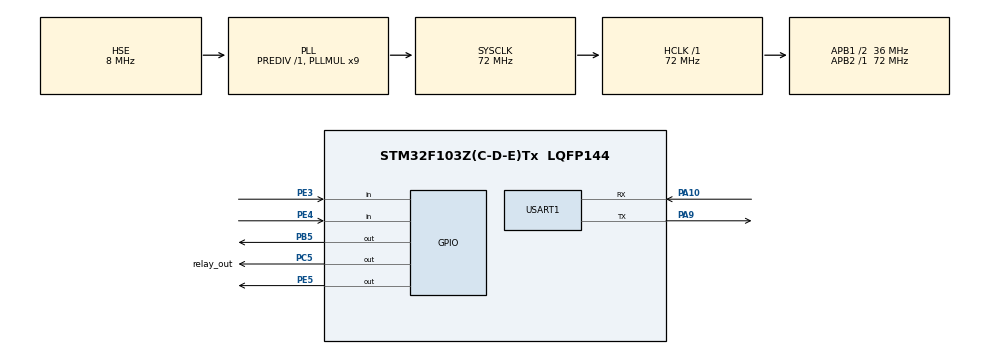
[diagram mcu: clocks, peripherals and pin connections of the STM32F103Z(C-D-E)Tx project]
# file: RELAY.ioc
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Mcu.Family=STM32F1
Mcu.Name=STM32F103Z(C-D-E)Tx
Mcu.Package=LQFP144
NVIC.PriorityGroup=NVIC_PRIORITYGROUP_4
OSC_IN.Mode=HSE-External-Oscillator
OSC_IN.Signal=RCC_OSC_IN
OSC_OUT.Mode=HSE-External-Oscillator
OSC_OUT.Signal=RCC_OSC_OUT
PA10.Mode=Asynchronous
PA10.Signal=USART1_RX
PA13.Mode=Serial_Wire
PA13.Signal=SYS_JTMS-SWDIO
PA14.Mode=Serial_Wire
PA14.Signal=SYS_JTCK-SWCLK
PA9.Mode=Asynchronous
PA9.Signal=USART1_TX
PB5.GPIO_PuPd=GPIO_PULLUP
PB5.Signal=GPIO_Output
PC5.GPIO_Label=relay_out
PC5.Signal=GPIO_Output
PE3.GPIO_PuPd=GPIO_PULLUP
PE3.Signal=GPIO_Input
PE4.GPIO_PuPd=GPIO_PULLUP
PE4.Signal=GPIO_Input
PE5.GPIO_PuPd=GPIO_PULLUP
PE5.GPIO_Speed=GPIO_SPEED_FREQ_LOW
PE5.Signal=GPIO_Output
ProjectManager.HeapSize=0x200
ProjectManager.StackSize=0x400
ProjectManager.TargetToolchain=MDK-ARM V5.32
RCC.AHBFreq_Value=72000000
RCC.APB1CLKDivider=RCC_HCLK_DIV2
RCC.APB1Freq_Value=36000000
RCC.APB1TimFreq_Value=72000000
RCC.APB2Freq_Value=72000000
RCC.APB2TimFreq_Value=72000000
RCC.HCLKFreq_Value=72000000
RCC.PLLMUL=RCC_PLL_MUL9
RCC.PLLSourceVirtual=RCC_PLLSOURCE_HSE
RCC.SYSCLKFreq_VALUE=72000000
RCC.SYSCLKSource=RCC_SYSCLKSOURCE_PLLCLK
RCC.USBFreq_Value=72000000
USART1.VirtualMode=VM_ASYNC
board=custom

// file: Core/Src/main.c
/* USER CODE BEGIN Header */
/**
  ******************************************************************************
  * @file           : main.c
  * @brief          : Main program body
  ******************************************************************************
  * @attention
  *
  * Copyright (c) 2024 STMicroelectronics.
  * All rights reserved.
  *
  * This software is licensed under terms that can be found in the LICENSE file
  * in the root directory of this software component.
  * If no LICENSE file comes with this software, it is provided AS-IS.
  *
  ******************************************************************************
  */
/* USER CODE END Header */
#include "main.h"
#include "usart.h"
#include "gpio.h"

void SystemClock_Config(void);

/* USER CODE BEGIN 0 */
uint8_t key_scan(void)
{
  uint8_t key = 0;

   if(HAL_GPIO_ReadPin(GPIOE,GPIO_PIN_3) == GPIO_PIN_RESET)
  {
    key = 1;
  }
  if(HAL_GPIO_ReadPin(GPIOE,GPIO_PIN_4) == GPIO_PIN_RESET)
  {
    key = 2;
  }
  return key;
}
/* USER CODE END 0 */

int main(void)
{
  /* USER CODE BEGIN 1 */
  uint8_t key = key_scan();
  /* USER CODE END 1 */

  /* MCU Configuration--------------------------------------------------------*/

  /* Reset of all peripherals, Initializes the Flash interface and the Systick. */
  HAL_Init();

  /* Configure the system clock */
  SystemClock_Config();

  /* Initialize all configured peripherals */
  MX_GPIO_Init();
  MX_USART1_UART_Init();

  /* Infinite loop */
  /* USER CODE BEGIN WHILE */
  while (1)
  {
    key = key_scan();
    switch (key)
    {
    case 1: {
		HAL_GPIO_TogglePin( GPIOB, GPIO_PIN_5);
		HAL_GPIO_WritePin(relay_out_GPIO_Port, relay_out_Pin, GPIO_PIN_SET);
        break;}
    case 2: {
	    HAL_GPIO_TogglePin(GPIOE, GPIO_PIN_5);
        HAL_GPIO_WritePin(relay_out_GPIO_Port, relay_out_Pin, GPIO_PIN_RESET);
	    break;}
    }
	HAL_Delay(500);

    /* USER CODE END WHILE */

  }
}

void SystemClock_Config(void)
{
  RCC_OscInitTypeDef RCC_OscInitStruct = {0};
  RCC_ClkInitTypeDef RCC_ClkInitStruct = {0};

  /** Initializes the RCC Oscillators according to the specified parameters
  * in the RCC_OscInitTypeDef structure.
  */
  RCC_OscInitStruct.OscillatorType = RCC_OSCILLATORTYPE_HSE;
  RCC_OscInitStruct.HSEState = RCC_HSE_ON;
  RCC_OscInitStruct.HSEPredivValue = RCC_HSE_PREDIV_DIV1;
  RCC_OscInitStruct.HSIState = RCC_HSI_ON;
  RCC_OscInitStruct.PLL.PLLState = RCC_PLL_ON;
  RCC_OscInitStruct.PLL.PLLSource = RCC_PLLSOURCE_HSE;
  RCC_OscInitStruct.PLL.PLLMUL = RCC_PLL_MUL9;
  if (HAL_RCC_OscConfig(&RCC_OscInitStruct) != HAL_OK)
  {
    Error_Handler();
  }

  /** Initializes the CPU, AHB and APB buses clocks
  */
  RCC_ClkInitStruct.ClockType = RCC_CLOCKTYPE_HCLK|RCC_CLOCKTYPE_SYSCLK
                              |RCC_CLOCKTYPE_PCLK1|RCC_CLOCKTYPE_PCLK2;
  RCC_ClkInitStruct.SYSCLKSource = RCC_SYSCLKSOURCE_PLLCLK;
  RCC_ClkInitStruct.AHBCLKDivider = RCC_SYSCLK_DIV1;
  RCC_ClkInitStruct.APB1CLKDivider = RCC_HCLK_DIV2;
  RCC_ClkInitStruct.APB2CLKDivider = RCC_HCLK_DIV1;

  if (HAL_RCC_ClockConfig(&RCC_ClkInitStruct, FLASH_LATENCY_2) != HAL_OK)
  {
    Error_Handler();
  }
}

void Error_Handler(void)
{
  __disable_irq();
  while (1)
  {
  }
}
